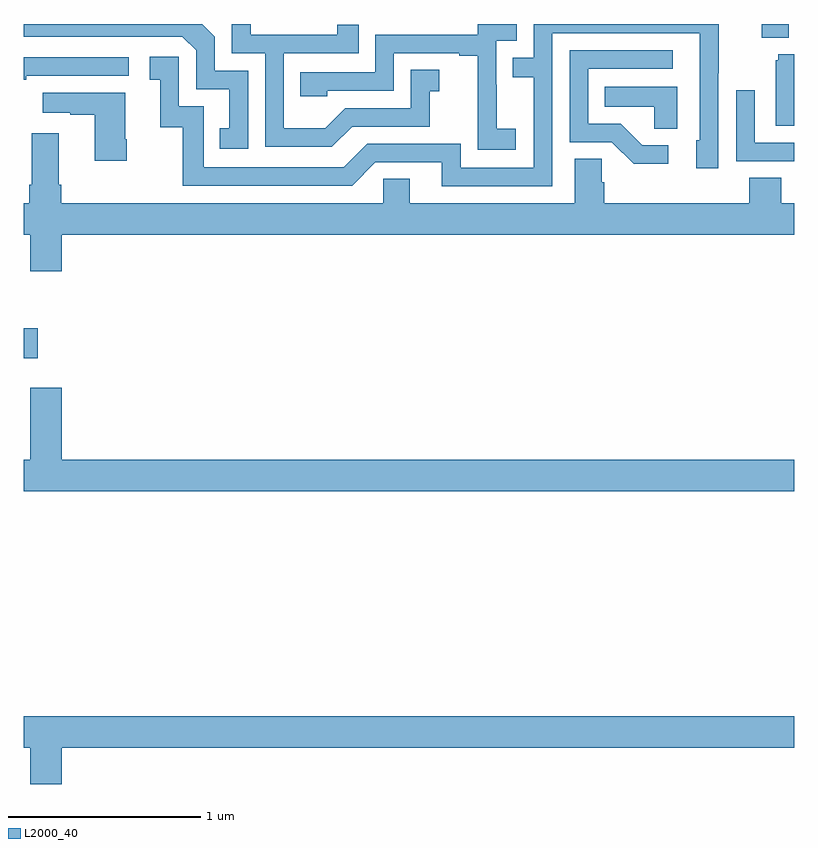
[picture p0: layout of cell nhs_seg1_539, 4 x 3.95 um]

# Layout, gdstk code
import gdstk
lib = gdstk.Library(unit=1e-6, precision=1e-09)
def R(c, l, rs):  # rectangles x0, y0, x1, y1
    for r in rs: c.add(gdstk.rectangle(r[:2], r[2:], *l))
def P(c, l, *ps):  # polygons
    for p in ps: c.add(gdstk.Polygon(p, *l))
L2000_40 = (2000, 40)

nhs_seg1_539 = lib.new_cell('nhs_seg1_539')
R(nhs_seg1_539, L2000_40, [(141,512.462,141.073,512.62), (144.833,514.127,144.973,514.199)])
P(nhs_seg1_539, L2000_40, [(142.164,513.957),(141.99,513.957),(141.99,514.134),(141.925,514.199),(141,514.199),(141,514.134),(141.822,514.134),(141.894,514.062),(141.894,513.861),(142.067,513.861),(142.067,513.657),(142.018,513.657),(142.018,513.552),(142.164,513.552)],
  [(142.705,513.666),(143.109,513.666),(143.109,513.851),(143.158,513.851),(143.158,513.961),(143.01,513.961),(143.01,513.762),(142.668,513.762),(142.564,513.658),(142.35,513.658),(142.35,514.047),(142.739,514.047),(142.739,514.195),(142.628,514.195),(142.628,514.143),(142.177,514.143),(142.177,514.199),(142.08,514.199),(142.08,514.047),(142.254,514.047),(142.254,513.561),(142.6,513.561)],
  [(143.554,513.655),(143.456,513.655),(143.456,513.884),(143.454,513.884),(143.454,514.113),(143.559,514.113),(143.559,514.199),(143.358,514.199),(143.358,514.143),(142.824,514.143),(142.824,513.948),(142.435,513.948),(142.435,513.825),(142.575,513.825),(142.575,513.852),(142.92,513.852),(142.92,514.047),(143.261,514.047),(143.261,514.035),(143.357,514.035),(143.357,513.751),(143.356,513.751),(143.356,513.545),(143.554,513.545)],
  [(143.745,514.152),(144.51,514.152),(144.51,513.594),(144.491,513.594),(144.491,513.45),(144.606,513.45),(144.606,513.943),(144.609,513.943),(144.609,514.199),(143.649,514.199),(143.649,514.023),(143.539,514.023),(143.539,513.922),(143.649,513.922),(143.649,513.453),(143.268,513.453),(143.268,513.576),(142.782,513.576),(142.662,513.456),(141.933,513.456),(141.933,513.771),(141.804,513.771),(141.804,514.03),(141.654,514.03),(141.654,513.909),(141.707,513.909),(141.707,513.663),(141.825,513.663),(141.825,513.36),(142.704,513.36),(142.824,513.48),(143.171,513.48),(143.171,513.357),(143.745,513.357)],
  [(144.346,513.57),(144.211,513.57),(144.1,513.681),(143.931,513.681),(143.931,513.966),(144.37,513.966),(144.37,514.062),(143.835,514.062),(143.835,513.585),(144.054,513.585),(144.167,513.472),(144.346,513.472)],
  [(145,514.042),(144.917,514.042),(144.917,514.011),(144.905,514.011),(144.905,513.671),(145,513.671)],
  [(141.011,513.93),(141.544,513.93),(141.544,514.026),(141,514.026),(141,513.91),(141.011,513.91)],
  [(144.394,513.874),(144.016,513.874),(144.016,513.77),(144.273,513.77),(144.273,513.655),(144.394,513.655)],
  [(145,513.582),(144.795,513.582),(144.795,513.856),(144.699,513.856),(144.699,513.486),(145,513.486)],
  [(141.534,513.601),(141.526,513.601),(141.526,513.841),(141.099,513.841),(141.099,513.737),(141.242,513.737),(141.242,513.727),(141.368,513.727),(141.368,513.489),(141.534,513.489)],
  [(141.196,513.104),(145,513.104),(145,513.268),(144.932,513.268),(144.932,513.401),(144.767,513.401),(144.767,513.268),(144.014,513.268),(144.014,513.377),(144,513.377),(144,513.5),(143.861,513.5),(143.861,513.268),(143.005,513.268),(143.005,513.395),(142.866,513.395),(142.866,513.268),(141.194,513.268),(141.194,513.364),(141.181,513.364),(141.181,513.631),(141.041,513.631),(141.041,513.364),(141.029,513.364),(141.029,513.268),(141,513.268),(141,513.104),(141.032,513.104),(141.032,512.916),(141.196,512.916)],
  [(145,511.936),(141.196,511.936),(141.196,512.311),(141.032,512.311),(141.032,511.936),(141,511.936),(141,511.772),(145,511.772)],
  [(141.196,510.44),(145,510.44),(145,510.604),(141,510.604),(141,510.44),(141.032,510.44),(141.032,510.252),(141.196,510.252)])

lib.write_gds('nhs_seg1_539.gds')
